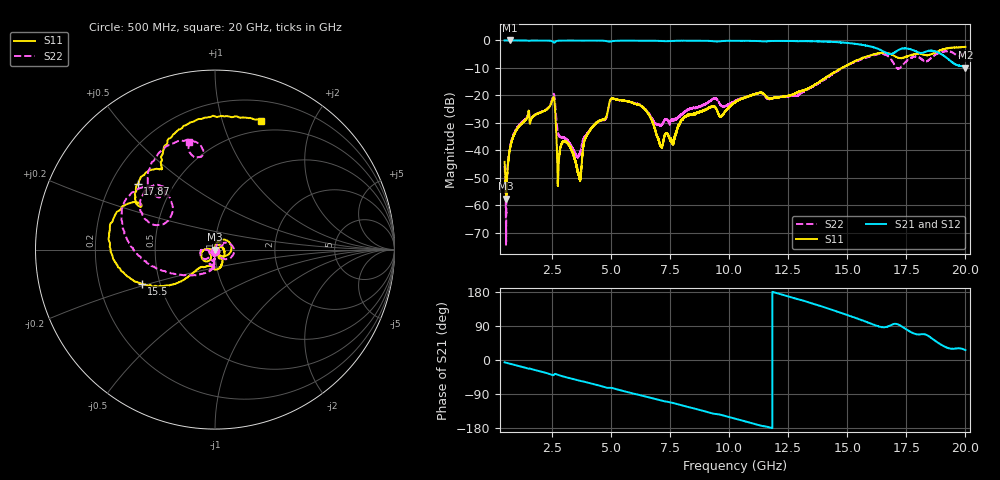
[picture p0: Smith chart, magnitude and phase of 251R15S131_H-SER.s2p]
!{251R15S131}
!Johanson Technology Inc.
!www.johansontechnology.com
!Test Board Conditions:
!Substrate Type  RO4350B
!Substrate Thickness  20 mil
!Substrate Dk  3.66
!TL Type: GCPW
!TL Trace Width  34 mil
!TL Gap  10 mil
!Electrode orientation  Horizontal
!DUT TOPOLOGY	SERIES
!Mounting Pad LxW  26x52 mil
! Created Thu Mar 12 16:50:22 2020
# mhz S ma R 50
! 2 Port Network Data from SP1.SP block
! freq  magS11  angS11  magS21  angS21  magS12  angS12  magS22  angS22
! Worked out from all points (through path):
!   19501 points, 500 MHz to 20 GHz, reference 50 ohm
!   highest |S21| = 0.00 dB at 740 MHz (marker M1); lowest = -9.9 dB at 20 GHz (marker M2)
!   group delay of S21, straight-line fit = 46.2 ps
!   lowest |S11| = -57.7 dB at 563 MHz (marker M3), VSWR 1.00, Z = 49.9 - j0.0259 ohm
!   |S11| at or under -10 dB: start of sweep to 14.77 GHz; 14.771 GHz to 14.7792 GHz (8.2 MHz wide, 0.0555 % of centre)
!   |S22| runs from -75.0 to -3.9 dB; largest |S21 - S12| = 0.016
!   S11 on the Smith chart (normalised r, x): 500 MHz: 1.00, -0.01; 15.5 GHz: 0.39, -0.19; 17.87 GHz: 0.31, +0.34; 20 GHz: 0.39, +1.35
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500  0.006144 -108.1  0.9988 -6.1  0.9994 -6.1  0.005174 -92.9
563  0.001307 -168.5  0.9994 -7.3  0.9992 -7.2  0.000236 23.0
740  0.01163 90.2  0.9998 -10.2  0.9986 -10.2  0.01208 73.3
1444  0.0384 71.3  0.9968 -21.6  0.9963 -21.6  0.04066 59.5
2530  0.08511 35.5  0.959 -40.0  0.96 -40.0  0.0926 18.6
2788  0.005352 68.3  0.9899 -39.9  0.9897 -39.8  0.01863 -27.0
3065  0.01436 77.9  0.9963 -44.9  0.9959 -44.9  0.01662 1.0
3640  0.003639 144.7  0.9948 -54.0  0.9946 -54.1  0.007994 -66.9
3750  0.004901 -134.6  0.9919 -55.8  0.9914 -55.8  0.01131 -89.4
3959  0.01776 -144.9  0.9935 -58.8  0.9945 -58.7  0.01895 -136.8
5059  0.08826 -141.9  0.9698 -74.2  0.9695 -74.1  0.08681 -155.4
6362  0.06039 -179.5  0.9909 -94.8  0.9896 -94.8  0.06081 178.9
7000  0.01624 -164.9  0.982 -105.1  0.9821 -105.1  0.02973 -144.9
8199  0.04233 18.3  0.9894 -122.9  0.9883 -122.8  0.05274 -92.6
10250  0.07427 -55.2  0.9847 -154.9  0.9848 -154.9  0.07948 -91.5
13500  0.1447 -131.2  0.9717 149.6  0.9714 149.6  0.1415 -113.0
15500  0.4514 -155.1  0.8478 107.5  0.8557 107.7  0.4369 -177.2
16750  0.5864 158.9  0.5718 89.2  0.5601 89.1  0.5085 136.6
17166  0.4812 148.5  0.6727 93.4  0.6656 93.4  0.3059 145.9
17868  0.5657 139.5  0.643 69.0  0.635 69.1  0.5056 141.9
19998  0.7624 70.5  0.3214 26.3  0.3206 26.4  0.6174 103.7
20000  0.7638 70.3  0.3217 26.2  0.3205 26.3  0.6181 103.7
